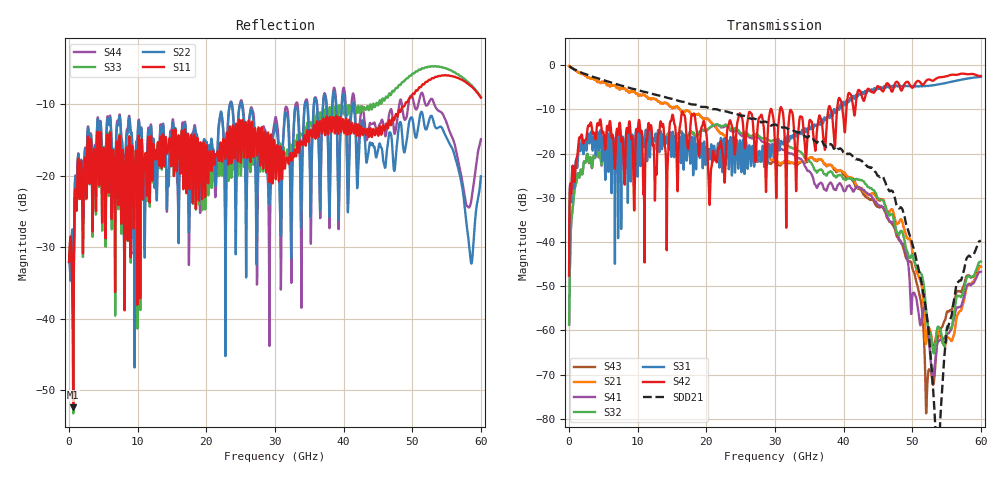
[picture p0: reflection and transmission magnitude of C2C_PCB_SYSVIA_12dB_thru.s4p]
!$Gore$
!C2C PCB Topology at Nominal
!Tuned Ballou BGA and Tuned Mayfield BOR
!Created with Channel Assembly Tool v1.0.4
# Hz S RI R 50
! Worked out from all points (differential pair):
!   6000 points, 10 MHz to 60 GHz, reference 50 ohm
!   strongest paths, dB at 10 MHz, 15.01 GHz, 30.01 GHz, 45.01 GHz, 60 GHz:
!     S42: -47.6, -11.4, -18.8, -4.8, -2.5
!     S31: -47.6, -17.0, -17.0, -5.1, -2.7
!     S32: -58.7, -15.4, -16.9, -30.1, -44.5
!     S41: -58.7, -15.7, -18.3, -31.5, -46.7
!     S21: -0.2, -9.7, -21.3, -30.5, -45.5
!     S43: -0.2, -9.7, -21.9, -32.1, -45.6
!   taken as a pair (ports 1,3 in; 2,4 out), SDD21 dB: -0.2, -7.6, -13.4, -25.0, -39.7
!   lowest |S11| = -52.4 dB at 610 MHz (marker M1), VSWR 1.00, Z = 50.2 - j0.0673 ohm
!   |S11| at or under -10 dB: start of sweep to 48.94 GHz
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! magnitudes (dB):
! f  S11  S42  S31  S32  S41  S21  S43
! 10 MHz  -32.0  -47.6  -47.6  -58.7  -58.7  -0.2  -0.2
! 610 MHz  -52.4  -23.5  -23.8  -30.8  -30.8  -0.9  -0.9
! 21.41 GHz  -17.0  -21.0  -20.2  -13.4  -13.5  -14.2  -14.1
! 41.1 GHz  -13.4  -6.9  -7.9  -25.8  -27.8  -25.4  -25.7
! 49.98 GHz  -8.7  -5.1  -4.8  -42.9  -52.7  -41.9  -45.7
! 52.17 GHz  -6.8  -3.3  -4.7  -57.9  -57.7  -60.9  -72.9
! 60 GHz  -9.1  -2.5  -2.7  -44.5  -46.7  -45.5  -45.6
